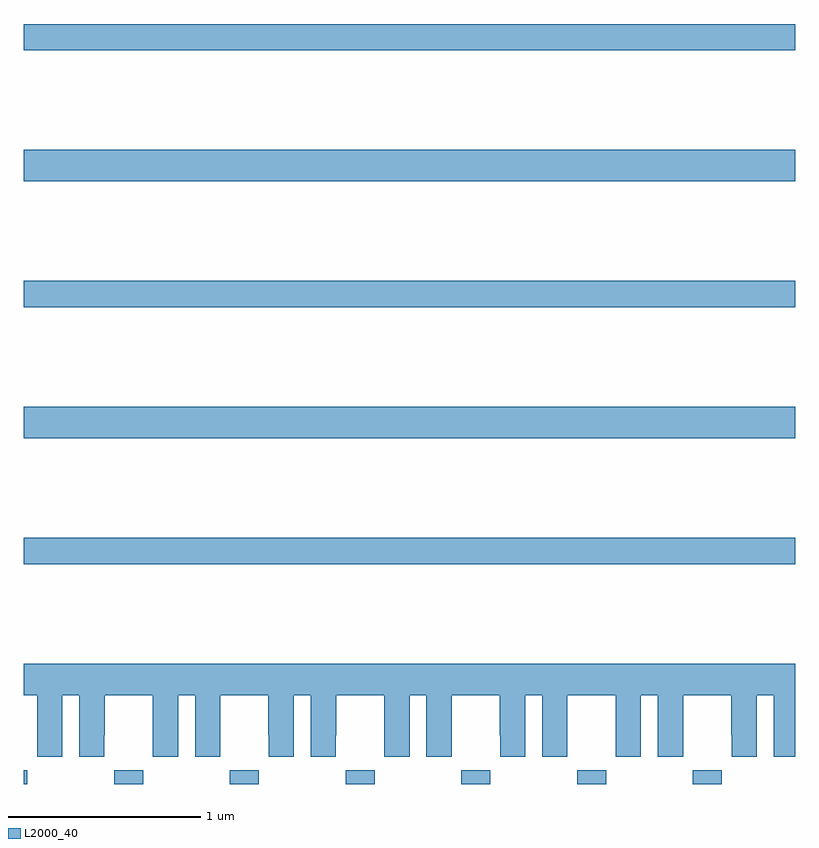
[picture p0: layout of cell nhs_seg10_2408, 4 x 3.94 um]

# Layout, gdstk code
import gdstk
lib = gdstk.Library(unit=1e-6, precision=1e-09)
def R(c, l, rs):  # rectangles x0, y0, x1, y1
    for r in rs: c.add(gdstk.rectangle(r[:2], r[2:], *l))
def A(c, l, x, y, w, h, nx, ny, dx, dy):  # array of equal rectangles
    R(c, l, [(x+i*dx, y+j*dy, x+i*dx+w, y+j*dy+h) for i in range(nx) for j in range(ny)])
def P(c, l, *ps):  # polygons
    for p in ps: c.add(gdstk.Polygon(p, *l))
L2000_40 = (2000, 40)

nhs_seg10_2408 = lib.new_cell('nhs_seg10_2408')
A(nhs_seg10_2408, L2000_40, 239.469, 1322.5, 0.15, 0.072, 6, 1, 0.6, 0)
A(nhs_seg10_2408, L2000_40, 239, 1323.64, 4, 0.136, 1, 3, 0, 1.332)
R(nhs_seg10_2408, L2000_40, [(239,1322.5,239.019,1322.572), (239,1324.292,243,1324.456), (239,1325.624,243,1325.788)])
P(nhs_seg10_2408, L2000_40, [(239.2,1322.96),(239.288,1322.96),(239.288,1322.64),(239.418,1322.64),(239.418,1322.752),(239.419,1322.752),(239.419,1322.96),(239.669,1322.96),(239.669,1322.752),(239.67,1322.752),(239.67,1322.64),(239.8,1322.64),(239.8,1322.96),(239.888,1322.96),(239.888,1322.64),(240.018,1322.64),(240.018,1322.752),(240.019,1322.752),(240.019,1322.96),(240.269,1322.96),(240.269,1322.752),(240.27,1322.752),(240.27,1322.64),(240.4,1322.64),(240.4,1322.96),(240.488,1322.96),(240.488,1322.64),(240.618,1322.64),(240.618,1322.752),(240.619,1322.752),(240.619,1322.96),(240.869,1322.96),(240.869,1322.752),(240.87,1322.752),(240.87,1322.64),(241,1322.64),(241,1322.96),(241.088,1322.96),(241.088,1322.64),(241.218,1322.64),(241.218,1322.752),(241.219,1322.752),(241.219,1322.96),(241.469,1322.96),(241.469,1322.752),(241.47,1322.752),(241.47,1322.64),(241.6,1322.64),(241.6,1322.96),(241.688,1322.96),(241.688,1322.64),(241.818,1322.64),(241.818,1322.752),(241.819,1322.752),(241.819,1322.96),(242.069,1322.96),(242.069,1322.752),(242.07,1322.752),(242.07,1322.64),(242.2,1322.64),(242.2,1322.96),(242.288,1322.96),(242.288,1322.64),(242.418,1322.64),(242.418,1322.752),(242.419,1322.752),(242.419,1322.96),(242.669,1322.96),(242.669,1322.752),(242.67,1322.752),(242.67,1322.64),(242.8,1322.64),(242.8,1322.96),(242.888,1322.96),(242.888,1322.64),(243,1322.64),(243,1323.124),(239,1323.124),(239,1322.96),(239.069,1322.96),(239.069,1322.752),(239.07,1322.752),(239.07,1322.64),(239.2,1322.64)])

lib.write_gds('nhs_seg10_2408.gds')
